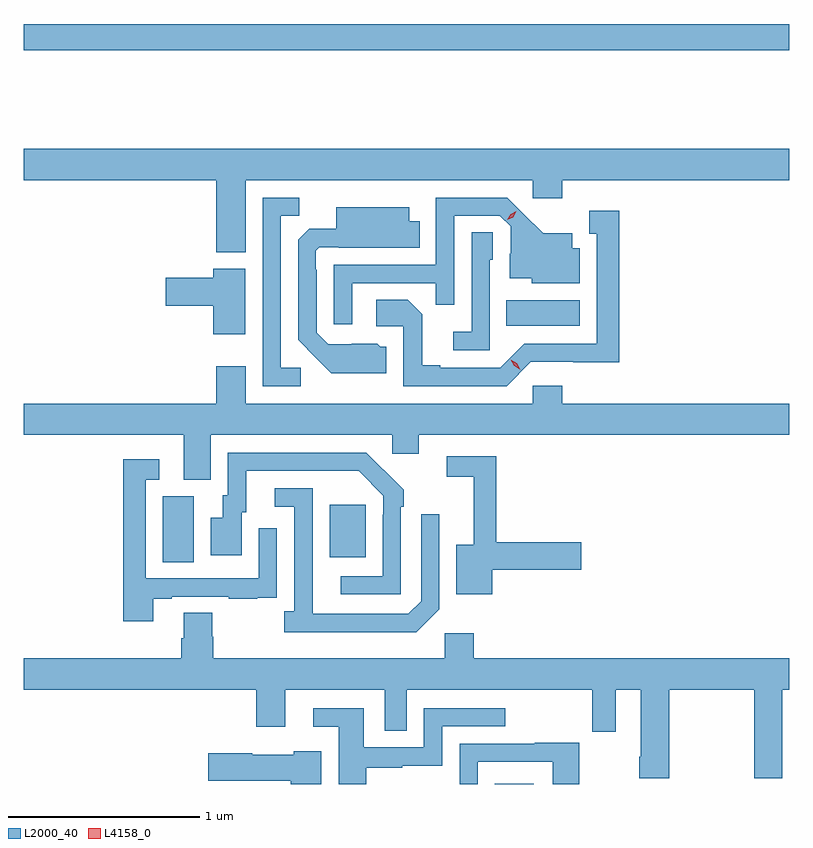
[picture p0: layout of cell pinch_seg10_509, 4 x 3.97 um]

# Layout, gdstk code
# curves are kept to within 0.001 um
import gdstk
lib = gdstk.Library(unit=1e-6, precision=1e-09)
def R(c, l, rs):  # rectangles x0, y0, x1, y1
    for r in rs: c.add(gdstk.rectangle(r[:2], r[2:], *l))
def P(c, l, *ps):  # polygons
    for p in ps: c.add(gdstk.Polygon(p, *l))
L2000_40 = (2000, 40)
L4158_0 = (4158, 0)

pinch_seg10_509 = lib.new_cell('pinch_seg10_509')
R(pinch_seg10_509, L2000_40, [(223.223,1251.872,223.426,1251.874), (221.486,1253.032,221.65,1253.376), (222.359,1253.057,222.547,1253.332), (223.282,1254.266,223.666,1254.4), (220.761,1255.708,224.761,1255.844)])
P(pinch_seg10_509, L2000_40, [(221.92,1255.028),(223.422,1255.028),(223.422,1254.933),(223.574,1254.933),(223.574,1255.028),(224.761,1255.028),(224.761,1255.192),(220.761,1255.192),(220.761,1255.028),(221.768,1255.028),(221.768,1254.65),(221.92,1254.65)],
  [(222.208,1254.048),(222.105,1254.048),(222.105,1254.841),(222.201,1254.841),(222.201,1254.936),(222.009,1254.936),(222.009,1253.952),(222.208,1253.952)],
  [(222.477,1254.489),(222.913,1254.489),(222.913,1254.376),(223.011,1254.376),(223.011,1254.843),(223.248,1254.843),(223.305,1254.786),(223.305,1254.644),(223.301,1254.644),(223.301,1254.515),(223.416,1254.515),(223.416,1254.488),(223.666,1254.488),(223.666,1254.672),(223.627,1254.672),(223.627,1254.751),(223.475,1254.751),(223.288,1254.936),(222.915,1254.936),(222.915,1254.585),(222.381,1254.585),(222.381,1254.276),(222.477,1254.276)],
  [(222.655,1254.156),(222.624,1254.156),(222.608,1254.172),(222.351,1254.171),(222.291,1254.231),(222.291,1254.56),(222.288,1254.56),(222.288,1254.66),(222.306,1254.678),(222.406,1254.678),(222.406,1254.674),(222.83,1254.674),(222.83,1254.814),(222.775,1254.814),(222.775,1254.886),(222.395,1254.886),(222.395,1254.775),(222.254,1254.775),(222.195,1254.716),(222.195,1254.194),(222.367,1254.02),(222.655,1254.02)],
  [(223.41,1254.078),(223.873,1254.077),(223.873,1254.868),(223.715,1254.868),(223.715,1254.747),(223.754,1254.747),(223.754,1254.174),(223.377,1254.174),(223.251,1254.048),(222.937,1254.048),(222.937,1254.061),(222.843,1254.061),(222.843,1254.328),(222.767,1254.404),(222.603,1254.404),(222.603,1254.264),(222.744,1254.264),(222.744,1253.952),(223.284,1253.952)],
  [(223.197,1254.612),(223.212,1254.612),(223.212,1254.755),(223.101,1254.755),(223.101,1254.235),(223.005,1254.235),(223.005,1254.138),(223.197,1254.138)],
  [(221.917,1254.565),(221.75,1254.565),(221.75,1254.518),(221.502,1254.518),(221.502,1254.371),(221.75,1254.371),(221.75,1254.222),(221.917,1254.222)],
  [(221.737,1253.696),(222.687,1253.696),(222.687,1253.598),(222.826,1253.598),(222.826,1253.696),(224.761,1253.696),(224.761,1253.86),(223.574,1253.86),(223.574,1253.953),(223.422,1253.953),(223.422,1253.86),(221.92,1253.86),(221.92,1254.055),(221.768,1254.055),(221.768,1253.86),(220.761,1253.86),(220.761,1253.696),(221.597,1253.696),(221.597,1253.461),(221.737,1253.461)],
  [(222.732,1253.321),(222.747,1253.321),(222.747,1253.409),(222.55,1253.604),(221.826,1253.604),(221.826,1253.382),(221.801,1253.382),(221.801,1253.263),(221.738,1253.263),(221.738,1253.067),(221.899,1253.067),(221.899,1253.292),(221.923,1253.292),(221.923,1253.508),(222.511,1253.508),(222.639,1253.379),(222.639,1253.279),(222.636,1253.279),(222.636,1252.959),(222.417,1252.959),(222.417,1252.863),(222.732,1252.863)],
  [(223.21,1252.993),(223.675,1252.993),(223.675,1253.135),(223.229,1253.135),(223.229,1253.586),(222.972,1253.586),(222.972,1253.478),(223.112,1253.478),(223.112,1253.122),(223.022,1253.122),(223.022,1252.865),(223.21,1252.865)],
  [(221.437,1252.839),(221.533,1252.839),(221.533,1252.851),(221.833,1252.851),(221.833,1252.839),(221.981,1252.839),(221.981,1252.845),(222.083,1252.845),(222.083,1252.954),(222.084,1252.954),(222.084,1253.209),(221.988,1253.209),(221.988,1252.947),(221.397,1252.947),(221.397,1253.463),(221.47,1253.463),(221.47,1253.569),(221.281,1253.569),(221.281,1252.722),(221.437,1252.722)],
  [(222.933,1252.785),(222.933,1253.281),(222.837,1253.281),(222.837,1252.827),(222.771,1252.761),(222.271,1252.761),(222.27,1253.418),(222.072,1253.418),(222.072,1253.322),(222.174,1253.322),(222.174,1252.774),(222.123,1252.774),(222.123,1252.664),(222.812,1252.664)],
  [(224.133,1252.364),(224.578,1252.364),(224.578,1251.903),(224.725,1251.903),(224.725,1252.364),(224.761,1252.364),(224.761,1252.528),(223.112,1252.528),(223.112,1252.66),(222.96,1252.66),(222.96,1252.528),(221.75,1252.528),(221.75,1252.641),(221.745,1252.641),(221.745,1252.766),(221.597,1252.766),(221.597,1252.634),(221.585,1252.634),(221.585,1252.528),(220.761,1252.528),(220.761,1252.364),(221.975,1252.364),(221.975,1252.17),(222.127,1252.17),(222.127,1252.364),(222.647,1252.364),(222.647,1252.15),(222.763,1252.15),(222.763,1252.364),(223.732,1252.364),(223.732,1252.146),(223.855,1252.146),(223.855,1252.364),(223.985,1252.364),(223.985,1252.015),(223.978,1252.015),(223.978,1251.903),(224.133,1251.903)],
  [(222.551,1251.957),(222.74,1251.957),(222.74,1251.968),(222.948,1251.968),(222.948,1252.173),(223.276,1252.173),(223.276,1252.269),(222.852,1252.269),(222.852,1252.065),(222.538,1252.065),(222.538,1252.269),(222.273,1252.269),(222.273,1252.172),(222.407,1252.172),(222.407,1251.872),(222.551,1251.872)],
  [(223.134,1251.987),(223.526,1251.987),(223.526,1251.872),(223.664,1251.872),(223.664,1252.088),(223.43,1252.088),(223.43,1252.083),(223.038,1252.083),(223.038,1251.872),(223.134,1251.872)],
  [(222.316,1252.042),(222.171,1252.042),(222.171,1252.024),(221.954,1252.024),(221.954,1252.032),(221.724,1252.032),(221.724,1251.89),(222.155,1251.89),(222.155,1251.872),(222.316,1251.872)])
P(pinch_seg10_509, L4158_0, [(223.356,1254.038),(223.324,1254.057),(223.306,1254.089),(223.306,1254.09),(223.306,1254.09),(223.338,1254.071),(223.356,1254.038),(223.356,1254.038)],
  [(223.288,1254.82),(223.288,1254.82),(223.305,1254.85),(223.335,1254.865),(223.335,1254.865),(223.335,1254.865),(223.318,1254.835),(223.288,1254.82)])

lib.write_gds('pinch_seg10_509.gds')
